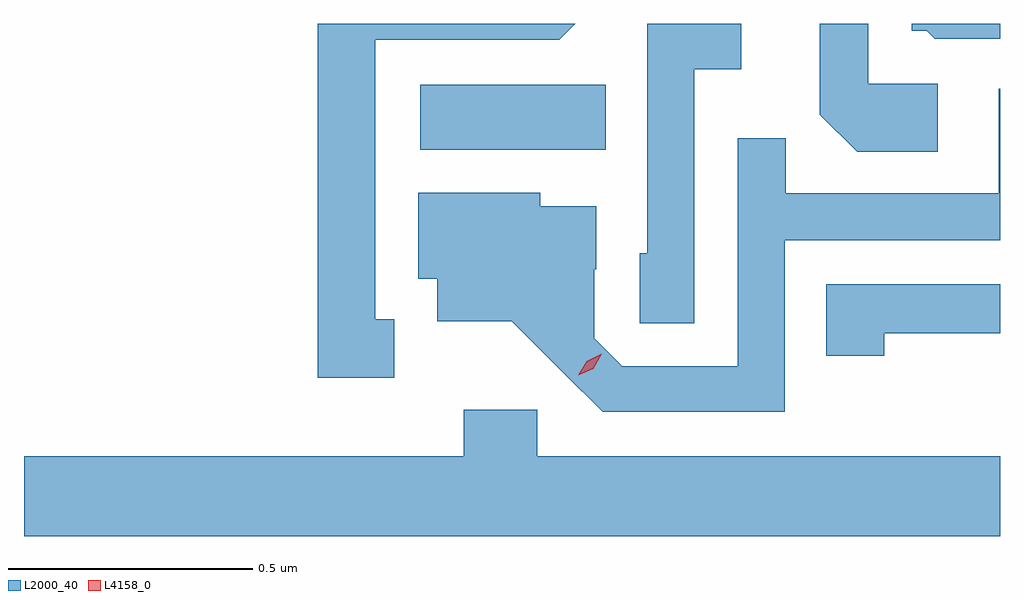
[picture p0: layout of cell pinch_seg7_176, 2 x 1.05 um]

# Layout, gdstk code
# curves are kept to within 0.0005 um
import gdstk
lib = gdstk.Library(unit=1e-6, precision=1e-09)
def R(c, l, rs):  # rectangles x0, y0, x1, y1
    for r in rs: c.add(gdstk.rectangle(r[:2], r[2:], *l))
def P(c, l, *ps):  # polygons
    for p in ps: c.add(gdstk.Polygon(p, *l))
L2000_40 = (2000, 40)
L4158_0 = (4158, 0)

pinch_seg7_176 = lib.new_cell('pinch_seg7_176')
R(pinch_seg7_176, L2000_40, [(1046.244,1024.052,1046.624,1024.186)])
P(pinch_seg7_176, L2000_40, [(1047.432,1024.311),(1047.251,1024.311),(1047.251,1024.296),(1047.282,1024.296),(1047.298,1024.28),(1047.432,1024.28)],
  [(1046.805,1024.217),(1046.902,1024.217),(1046.902,1024.311),(1046.709,1024.311),(1046.709,1023.84),(1046.694,1023.84),(1046.694,1023.697),(1046.805,1023.697)],
  [(1046.191,1023.705),(1046.152,1023.705),(1046.152,1024.278),(1046.529,1024.278),(1046.562,1024.311),(1046.034,1024.311),(1046.034,1023.585),(1046.191,1023.585)],
  [(1047.304,1024.188),(1047.162,1024.188),(1047.162,1024.311),(1047.063,1024.311),(1047.063,1024.124),(1047.139,1024.048),(1047.304,1024.048)],
  [(1046.991,1023.867),(1047.432,1023.867),(1047.432,1024.177),(1047.429,1024.177),(1047.429,1023.963),(1046.993,1023.963),(1046.993,1024.076),(1046.895,1024.076),(1046.895,1023.609),(1046.658,1023.609),(1046.601,1023.666),(1046.601,1023.808),(1046.605,1023.808),(1046.605,1023.937),(1046.49,1023.937),(1046.49,1023.964),(1046.24,1023.964),(1046.24,1023.788),(1046.279,1023.788),(1046.279,1023.701),(1046.431,1023.701),(1046.618,1023.516),(1046.991,1023.516)],
  [(1047.195,1023.676),(1047.432,1023.676),(1047.432,1023.777),(1047.076,1023.777),(1047.076,1023.63),(1047.195,1023.63)],
  [(1047.432,1023.424),(1046.484,1023.424),(1046.484,1023.52),(1046.333,1023.52),(1046.333,1023.424),(1045.432,1023.424),(1045.432,1023.26),(1047.432,1023.26)])
P(pinch_seg7_176, L4158_0, [(1046.568,1023.59),(1046.568,1023.59),(1046.585,1023.619),(1046.616,1023.634),(1046.616,1023.634),(1046.616,1023.634),(1046.599,1023.604),(1046.568,1023.59)])

lib.write_gds('pinch_seg7_176.gds')
